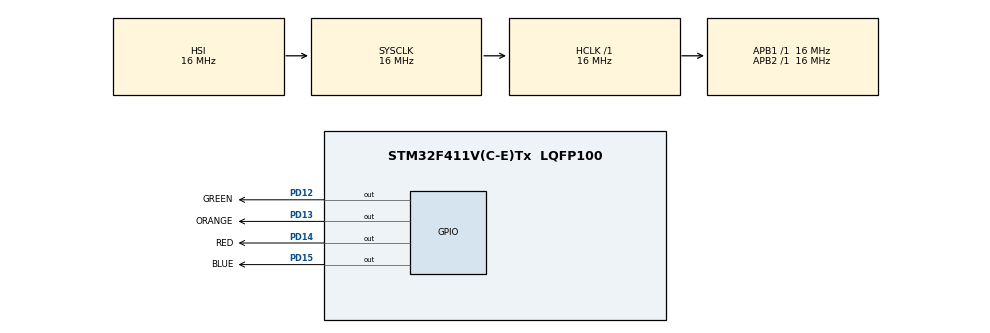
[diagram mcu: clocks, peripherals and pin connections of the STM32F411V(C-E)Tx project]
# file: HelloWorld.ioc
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Mcu.Family=STM32F4
Mcu.Name=STM32F411V(C-E)Tx
Mcu.Package=LQFP100
NVIC.PriorityGroup=NVIC_PRIORITYGROUP_4
PD12.GPIO_Label=GREEN
PD12.Signal=GPIO_Output
PD13.GPIO_Label=ORANGE
PD13.Signal=GPIO_Output
PD14.GPIO_Label=RED
PD14.Signal=GPIO_Output
PD15.GPIO_Label=BLUE
PD15.Signal=GPIO_Output
ProjectManager.HeapSize=0x200
ProjectManager.StackSize=0x400
ProjectManager.TargetToolchain=STM32CubeIDE
RCC.AHBFreq_Value=16000000
RCC.APB1Freq_Value=16000000
RCC.APB2Freq_Value=16000000
RCC.CortexFreq_Value=16000000
RCC.HSE_VALUE=25000000
RCC.HSI_VALUE=16000000
RCC.LSE_VALUE=32768
RCC.SYSCLKFreq_VALUE=16000000
RCC.VCOOutputFreq_Value=192000000
board=custom

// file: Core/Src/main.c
/* USER CODE BEGIN Header */
/**
  ******************************************************************************
  * @file           : main.c
  * @brief          : Main program body
  ******************************************************************************
  * @attention
  *
  * Copyright (c) 2023 STMicroelectronics.
  * All rights reserved.
  *
  * This software is licensed under terms that can be found in the LICENSE file
  * in the root directory of this software component.
  * If no LICENSE file comes with this software, it is provided AS-IS.
  *
  ******************************************************************************
  */
/* USER CODE END Header */
#include "main.h"

void SystemClock_Config(void);
static void MX_GPIO_Init(void);

int main(void)
{

  /* MCU Configuration--------------------------------------------------------*/

  /* Reset of all peripherals, Initializes the Flash interface and the Systick. */
  HAL_Init();

  /* Configure the system clock */
  SystemClock_Config();

  /* Initialize all configured peripherals */
  MX_GPIO_Init();

  /* Infinite loop */
  /* USER CODE BEGIN WHILE */
  while (1)
  {
	  /*
	  HAL_GPIO_WritePin(GPIOD, GPIO_PIN_15, GPIO_PIN_SET);
	  HAL_Delay(200);
	  HAL_GPIO_WritePin(GPIOD, GPIO_PIN_15, GPIO_PIN_RESET);
	  HAL_Delay(200);

	  HAL_GPIO_WritePin(GPIOD, GREEN_Pin|ORANGE_Pin|RED_Pin|BLUE_Pin, GPIO_PIN_SET);
	  */

	  HAL_GPIO_WritePin(GPIOD, GREEN_Pin, GPIO_PIN_SET);
	  HAL_Delay(400);
	  HAL_GPIO_WritePin(GPIOD, GREEN_Pin, GPIO_PIN_RESET);
	  HAL_GPIO_WritePin(GPIOD, BLUE_Pin, GPIO_PIN_SET);
	  HAL_Delay(100);
	  HAL_GPIO_WritePin(GPIOD, BLUE_Pin, GPIO_PIN_RESET);
	  HAL_Delay(200);
	  HAL_GPIO_WritePin(GPIOD, BLUE_Pin, GPIO_PIN_SET);
	  HAL_Delay(250);
	  HAL_GPIO_WritePin(GPIOD, BLUE_Pin, GPIO_PIN_RESET);
	  HAL_GPIO_WritePin(GPIOD, RED_Pin, GPIO_PIN_SET);
	  HAL_Delay(100);
	  HAL_GPIO_WritePin(GPIOD, RED_Pin, GPIO_PIN_RESET);
	  HAL_GPIO_WritePin(GPIOD, ORANGE_Pin, GPIO_PIN_SET);
	  HAL_Delay(100);
	  HAL_GPIO_WritePin(GPIOD, ORANGE_Pin, GPIO_PIN_RESET);
	  HAL_GPIO_WritePin(GPIOD, BLUE_Pin, GPIO_PIN_SET);
	  HAL_Delay(100);
	  HAL_GPIO_WritePin(GPIOD, BLUE_Pin, GPIO_PIN_RESET);
	  HAL_GPIO_WritePin(GPIOD, GREEN_Pin, GPIO_PIN_SET);
	  HAL_Delay(300);
	  HAL_GPIO_WritePin(GPIOD, GREEN_Pin, GPIO_PIN_RESET);
	  HAL_Delay(150);
	  HAL_GPIO_WritePin(GPIOD, ORANGE_Pin, GPIO_PIN_SET);
	  HAL_Delay(50);
	  HAL_GPIO_WritePin(GPIOD, GREEN_Pin, GPIO_PIN_SET);
	  HAL_Delay(150);
	  HAL_GPIO_WritePin(GPIOD, GREEN_Pin|ORANGE_Pin, GPIO_PIN_RESET);
	  HAL_Delay(100);
	  HAL_GPIO_WritePin(GPIOD, BLUE_Pin, GPIO_PIN_SET);
	  HAL_Delay(50);
	  HAL_GPIO_WritePin(GPIOD, RED_Pin, GPIO_PIN_SET);
	  HAL_Delay(150);
	  HAL_GPIO_WritePin(GPIOD, BLUE_Pin|RED_Pin, GPIO_PIN_RESET);

	  //finall
	  HAL_GPIO_WritePin(GPIOD, GREEN_Pin, GPIO_PIN_SET);
	  HAL_Delay(200);
	  HAL_GPIO_WritePin(GPIOD, GREEN_Pin, GPIO_PIN_RESET);
	  HAL_GPIO_WritePin(GPIOD, BLUE_Pin, GPIO_PIN_SET);
	  HAL_Delay(150);
	  HAL_GPIO_WritePin(GPIOD, BLUE_Pin, GPIO_PIN_RESET);
	  HAL_GPIO_WritePin(GPIOD, RED_Pin, GPIO_PIN_SET);
	  HAL_Delay(150);
	  HAL_GPIO_WritePin(GPIOD, RED_Pin, GPIO_PIN_RESET);
	  HAL_GPIO_WritePin(GPIOD, ORANGE_Pin, GPIO_PIN_SET);
	  HAL_Delay(150);
	  HAL_GPIO_WritePin(GPIOD, ORANGE_Pin, GPIO_PIN_RESET);
	  HAL_Delay(150);
	  HAL_GPIO_WritePin(GPIOD, GREEN_Pin|ORANGE_Pin|RED_Pin|BLUE_Pin, GPIO_PIN_SET);
	  HAL_Delay(200);
	  HAL_GPIO_WritePin(GPIOD, GREEN_Pin|ORANGE_Pin|RED_Pin|BLUE_Pin, GPIO_PIN_RESET);
	  HAL_Delay(500);
    /* USER CODE END WHILE */

  }
}

void SystemClock_Config(void)
{
  RCC_OscInitTypeDef RCC_OscInitStruct = {0};
  RCC_ClkInitTypeDef RCC_ClkInitStruct = {0};

  /** Configure the main internal regulator output voltage
  */
  __HAL_RCC_PWR_CLK_ENABLE();
  __HAL_PWR_VOLTAGESCALING_CONFIG(PWR_REGULATOR_VOLTAGE_SCALE1);

  /** Initializes the RCC Oscillators according to the specified parameters
  * in the RCC_OscInitTypeDef structure.
  */
  RCC_OscInitStruct.OscillatorType = RCC_OSCILLATORTYPE_HSI;
  RCC_OscInitStruct.HSIState = RCC_HSI_ON;
  RCC_OscInitStruct.HSICalibrationValue = RCC_HSICALIBRATION_DEFAULT;
  RCC_OscInitStruct.PLL.PLLState = RCC_PLL_NONE;
  if (HAL_RCC_OscConfig(&RCC_OscInitStruct) != HAL_OK)
  {
    Error_Handler();
  }

  /** Initializes the CPU, AHB and APB buses clocks
  */
  RCC_ClkInitStruct.ClockType = RCC_CLOCKTYPE_HCLK|RCC_CLOCKTYPE_SYSCLK
                              |RCC_CLOCKTYPE_PCLK1|RCC_CLOCKTYPE_PCLK2;
  RCC_ClkInitStruct.SYSCLKSource = RCC_SYSCLKSOURCE_HSI;
  RCC_ClkInitStruct.AHBCLKDivider = RCC_SYSCLK_DIV1;
  RCC_ClkInitStruct.APB1CLKDivider = RCC_HCLK_DIV1;
  RCC_ClkInitStruct.APB2CLKDivider = RCC_HCLK_DIV1;

  if (HAL_RCC_ClockConfig(&RCC_ClkInitStruct, FLASH_LATENCY_0) != HAL_OK)
  {
    Error_Handler();
  }
}

static void MX_GPIO_Init(void)
{
  GPIO_InitTypeDef GPIO_InitStruct = {0};

  /* GPIO Ports Clock Enable */
  __HAL_RCC_GPIOD_CLK_ENABLE();

  /*Configure GPIO pin Output Level */
  HAL_GPIO_WritePin(GPIOD, GREEN_Pin|ORANGE_Pin|RED_Pin|BLUE_Pin, GPIO_PIN_RESET);

  /*Configure GPIO pins : GREEN_Pin ORANGE_Pin RED_Pin BLUE_Pin */
  GPIO_InitStruct.Pin = GREEN_Pin|ORANGE_Pin|RED_Pin|BLUE_Pin;
  GPIO_InitStruct.Mode = GPIO_MODE_OUTPUT_PP;
  GPIO_InitStruct.Pull = GPIO_NOPULL;
  GPIO_InitStruct.Speed = GPIO_SPEED_FREQ_LOW;
  HAL_GPIO_Init(GPIOD, &GPIO_InitStruct);

}

void Error_Handler(void)
{
  __disable_irq();
  while (1)
  {
  }
}
